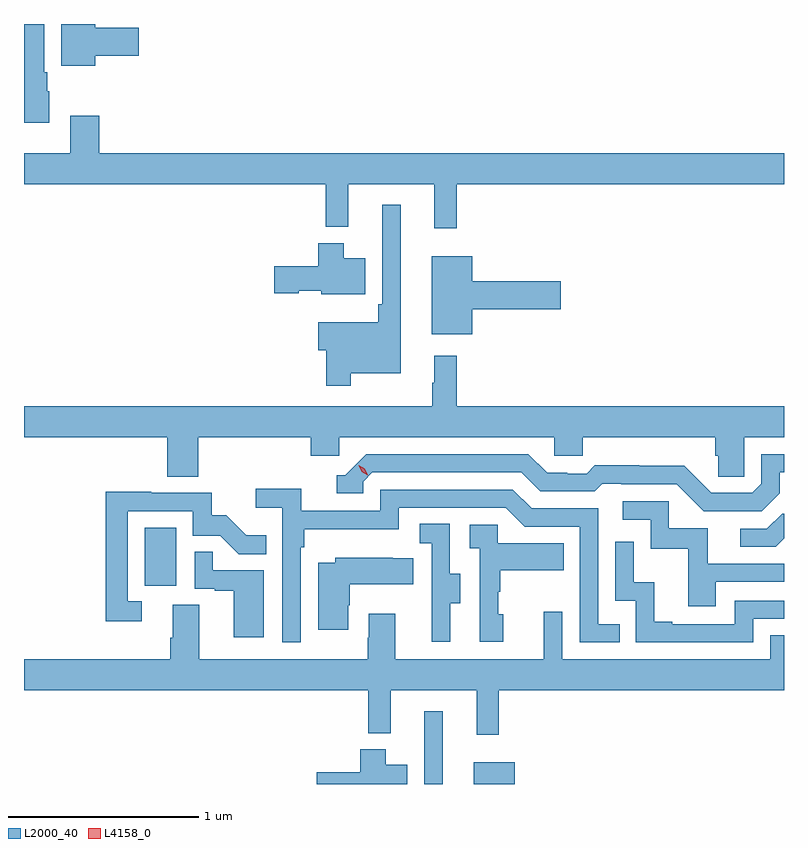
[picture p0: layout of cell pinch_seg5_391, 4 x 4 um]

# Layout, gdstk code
import gdstk
lib = gdstk.Library(unit=1e-6, precision=1e-09)
def R(c, l, rs):  # rectangles x0, y0, x1, y1
    for r in rs: c.add(gdstk.rectangle(r[:2], r[2:], *l))
def P(c, l, *ps):  # polygons
    for p in ps: c.add(gdstk.Polygon(p, *l))
L2000_40 = (2000, 40)
L4158_0 = (4158, 0)

pinch_seg5_391 = lib.new_cell('pinch_seg5_391')
R(pinch_seg5_391, L2000_40, [(953.115,872.251,953.212,872.635), (953.375,872.251,953.59,872.365), (951.644,873.294,951.808,873.601)])
P(pinch_seg5_391, L2000_40, [(951.142,875.898),(951.13,875.898),(951.13,875.998),(951.115,875.998),(951.115,876.251),(951.008,876.251),(951.008,875.732),(951.142,875.732)],
  [(951.382,876.083),(951.613,876.083),(951.613,876.23),(951.382,876.23),(951.382,876.251),(951.203,876.251),(951.203,876.032),(951.382,876.032)],
  [(953.285,875.408),(955.008,875.408),(955.008,875.572),(951.404,875.572),(951.404,875.767),(951.251,875.767),(951.251,875.572),(951.008,875.572),(951.008,875.408),(952.597,875.408),(952.597,875.183),(952.715,875.183),(952.715,875.408),(953.168,875.408),(953.168,875.175),(953.285,875.175)],
  [(952.729,874.412),(952.99,874.412),(952.99,875.299),(952.893,875.299),(952.893,874.777),(952.873,874.777),(952.873,874.681),(952.556,874.681),(952.556,874.534),(952.6,874.534),(952.6,874.347),(952.729,874.347)],
  [(952.804,875.017),(952.69,875.017),(952.69,875.098),(952.556,875.098),(952.556,874.977),(952.326,874.977),(952.326,874.835),(952.455,874.835),(952.455,874.847),(952.572,874.847),(952.572,874.829),(952.804,874.829)],
  [(953.368,874.751),(953.833,874.751),(953.833,874.898),(953.368,874.898),(953.368,875.029),(953.153,875.029),(953.153,874.619),(953.368,874.619)],
  [(951.008,874.076),(951.761,874.076),(951.761,873.868),(951.926,873.868),(951.926,874.076),(952.517,874.076),(952.517,873.978),(952.668,873.978),(952.668,874.076),(953.799,874.076),(953.799,873.978),(953.949,873.978),(953.949,874.076),(954.647,874.076),(954.647,873.978),(954.661,873.978),(954.661,873.868),(954.798,873.868),(954.798,874.076),(955.008,874.076),(955.008,874.24),(953.285,874.24),(953.285,874.504),(953.168,874.504),(953.168,874.364),(953.157,874.364),(953.157,874.24),(951.008,874.24)],
  [(954.985,873.781),(954.985,873.891),(955.008,873.891),(955.008,873.987),(954.888,873.987),(954.888,873.831),(954.84,873.783),(954.624,873.783),(954.482,873.925),(954.246,873.925),(954.246,873.928),(954.013,873.928),(953.971,873.885),(953.868,873.885),(953.868,873.888),(953.761,873.888),(953.662,873.987),(952.809,873.987),(952.698,873.876),(952.655,873.876),(952.655,873.78),(952.794,873.78),(952.794,873.843),(952.842,873.891),(953.625,873.891),(953.724,873.792),(954.013,873.792),(954.052,873.831),(954.151,873.831),(954.151,873.828),(954.444,873.828),(954.585,873.687),(954.891,873.687)],
  [(952.464,873.497),(952.484,873.497),(952.484,873.593),(952.98,873.593),(952.98,873.705),(953.544,873.705),(953.643,873.606),(953.934,873.606),(953.934,872.997),(954.143,872.997),(954.143,873.093),(954.03,873.093),(954.03,873.702),(953.68,873.702),(953.581,873.801),(952.884,873.801),(952.884,873.69),(952.466,873.69),(952.466,873.806),(952.227,873.806),(952.227,873.704),(952.368,873.704),(952.368,872.997),(952.464,872.997)],
  [(951.628,873.213),(951.555,873.213),(951.555,873.687),(951.897,873.687),(951.897,873.558),(952.041,873.558),(952.139,873.46),(952.283,873.46),(952.283,873.559),(952.179,873.559),(952.072,873.666),(951.996,873.666),(951.996,873.783),(951.677,873.783),(951.677,873.788),(951.439,873.788),(951.439,873.108),(951.628,873.108)],
  [(954.649,873.315),(955.008,873.315),(955.008,873.411),(954.607,873.411),(954.607,873.597),(954.402,873.597),(954.402,873.738),(954.159,873.738),(954.159,873.642),(954.306,873.642),(954.306,873.489),(954.505,873.489),(954.505,873.186),(954.649,873.186)],
  [(955.008,873.545),(955.008,873.674),(954.998,873.674),(954.918,873.594),(954.777,873.594),(954.777,873.501),(954.964,873.501)],
  [(953.251,873.202),(953.305,873.202),(953.305,873.357),(953.25,873.357),(953.25,873.62),(953.091,873.62),(953.091,873.517),(953.154,873.517),(953.154,873.213),(953.153,873.213),(953.153,873),(953.251,873)],
  [(953.53,873.144),(953.505,873.144),(953.505,873.263),(953.515,873.263),(953.515,873.377),(953.849,873.377),(953.849,873.517),(953.502,873.517),(953.502,873.615),(953.355,873.615),(953.355,873.491),(953.406,873.491),(953.406,873),(953.53,873)],
  [(954.846,873.12),(955.008,873.12),(955.008,873.216),(954.75,873.216),(954.75,873.093),(954.421,873.093),(954.421,873.106),(954.326,873.106),(954.326,873.314),(954.216,873.314),(954.216,873.526),(954.12,873.526),(954.12,873.216),(954.228,873.216),(954.228,872.997),(954.846,872.997)],
  [(952.27,873.375),(952.001,873.375),(952.001,873.473),(951.906,873.473),(951.906,873.279),(952.013,873.279),(952.013,873.267),(952.112,873.267),(952.112,873.024),(952.27,873.024)],
  [(952.714,873.191),(952.722,873.191),(952.722,873.302),(953.057,873.302),(953.057,873.439),(952.949,873.439),(952.949,873.442),(952.647,873.442),(952.647,873.415),(952.556,873.415),(952.556,873.063),(952.714,873.063)],
  [(953.507,872.744),(955.008,872.744),(955.008,873.035),(954.936,873.035),(954.936,872.908),(953.841,872.908),(953.841,873.157),(953.744,873.157),(953.744,872.908),(952.963,872.908),(952.963,873.148),(952.823,873.148),(952.823,873.02),(952.816,873.02),(952.816,872.908),(951.931,872.908),(951.931,873.194),(951.791,873.194),(951.791,873.02),(951.779,873.02),(951.779,872.908),(951.008,872.908),(951.008,872.744),(952.819,872.744),(952.819,872.519),(952.937,872.519),(952.937,872.744),(953.39,872.744),(953.39,872.511),(953.507,872.511)],
  [(953.026,872.353),(952.912,872.353),(952.912,872.434),(952.778,872.434),(952.778,872.313),(952.548,872.313),(952.548,872.251),(953.026,872.251)])
P(pinch_seg5_391, L4158_0, [(952.817,873.876),(952.786,873.895),(952.769,873.928),(952.769,873.928),(952.77,873.928),(952.801,873.909),(952.817,873.876),(952.817,873.876)])

lib.write_gds('pinch_seg5_391.gds')
